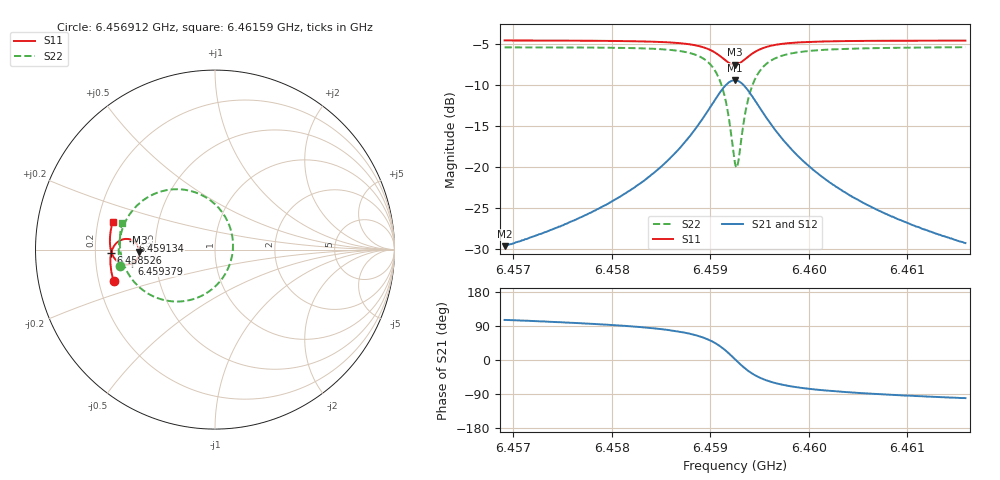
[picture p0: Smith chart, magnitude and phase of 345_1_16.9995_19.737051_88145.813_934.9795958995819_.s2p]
#  HZ  S  RI  R  50.00
! Rohde & Schwarz Vector Network Analyzer
! Rohde-Schwarz,ZNB20-2Port,1311601062101988,3.16
! Created: UTC 3/20/2024, 11:07:35 PM
! freq[Hz]  re:S11  im:S11  re:S21  im:S21  re:S12  im:S12  re:S22  im:S22
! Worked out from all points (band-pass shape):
!   401 points, 6.456912 GHz to 6.46159 GHz, reference 50 ohm
!   highest |S21| = -9.40 dB at 6.459251 GHz (marker M1); lowest = -29.6 dB at 6.456912 GHz (marker M2)
!   |S21| within 3 dB of the highest: 6.459014 GHz to 6.459483 GHz (468.4 kHz wide, 0.00725 % of centre)
!   lowest |S11| = -7.5 dB at 6.459251 GHz (marker M3), VSWR 2.46, Z = 20.4 - j0.668 ohm
!   |S11| at or under -10 dB: nowhere
!   |S22| runs from -20.0 to -5.4 dB; largest |S21 - S12| = 0.013
!   S11 on the Smith chart (normalised r, x): 6.456912 GHz: 0.26, -0.14; 6.458526 GHz: 0.27, -0.01; 6.459134 GHz: 0.37, +0.05; 6.459379 GHz: 0.36, -0.07; 6.46159 GHz: 0.26, +0.12
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6.456912e9  -0.5651 -0.1771  -0.00894 0.0317  -0.00737 0.0317  -0.5296 -0.0899
6.4576954e9  -0.5799 -0.109  -0.006 0.0494  -0.00341 0.0488  -0.5362 0.0005
6.4581164e9  -0.5832 -0.0674  -0.000454 0.068  0.00276 0.0667  -0.5293 0.0656
6.4584789e9  -0.5798 -0.0246  0.0135 0.0971  0.0173 0.0947  -0.5043 0.1451
6.4585257e9  -0.5783 -0.0183  0.0167 0.1026  0.0207 0.0996  -0.498 0.1583
6.4587362e9  -0.5663 0.0136  0.0426 0.1339  0.0466 0.1292  -0.4499 0.2295
6.4588882e9  -0.5453 0.0399  0.0848 0.1639  0.0881 0.1576  -0.3721 0.2933
6.4590402e9  -0.4994 0.0594  0.1759 0.1823  0.177 0.1752  -0.2056 0.3363
6.4591338e9  -0.4553 0.049  0.2648 0.1506  0.2652 0.1448  -0.0411 0.2853
6.4591806e9  -0.4348 0.03  0.3073 0.1077  0.3087 0.1024  0.0393 0.2089
6.4592507e9  -0.421 -0.0135  0.3386 0.012  0.3422 0.00488  0.1004 0.0313
6.4592624e9  -0.4216 -0.0213  0.3383 -0.00529  0.3418 -0.0131  0.0994 -0.00153
6.4592858e9  -0.4252 -0.0365  0.3322 -0.0393  0.3357 -0.0484  0.0877 -0.0656
6.4593443e9  -0.4461 -0.0665  0.2938 -0.1091  0.2951 -0.1211  0.0103 -0.1965
6.4593794e9  -0.4627 -0.0771  0.2621 -0.1369  0.261 -0.1497  -0.0537 -0.2463
6.4594729e9  -0.5051 -0.0831  0.1794 -0.1665  0.1733 -0.1774  -0.2178 -0.2895
6.4596249e9  -0.5477 -0.0624  0.0941 -0.1528  0.0859 -0.1586  -0.38 -0.2408
6.4597887e9  -0.5687 -0.0349  0.0505 -0.1257  0.0431 -0.1284  -0.4582 -0.1704
6.4600342e9  -0.5812 0.000619  0.022 -0.095  0.0164 -0.0955  -0.5052 -0.0897
6.4603967e9  -0.5856 0.0428  0.006 -0.0682  0.00207 -0.0677  -0.5265 -0.00953
6.4608177e9  -0.5835 0.0848  -0.00148 -0.0507  -0.00422 -0.05  -0.5302 0.0559
6.4615895e9  -0.5711 0.1528  -0.00634 -0.0338  -0.00801 -0.033  -0.5188 0.1458
